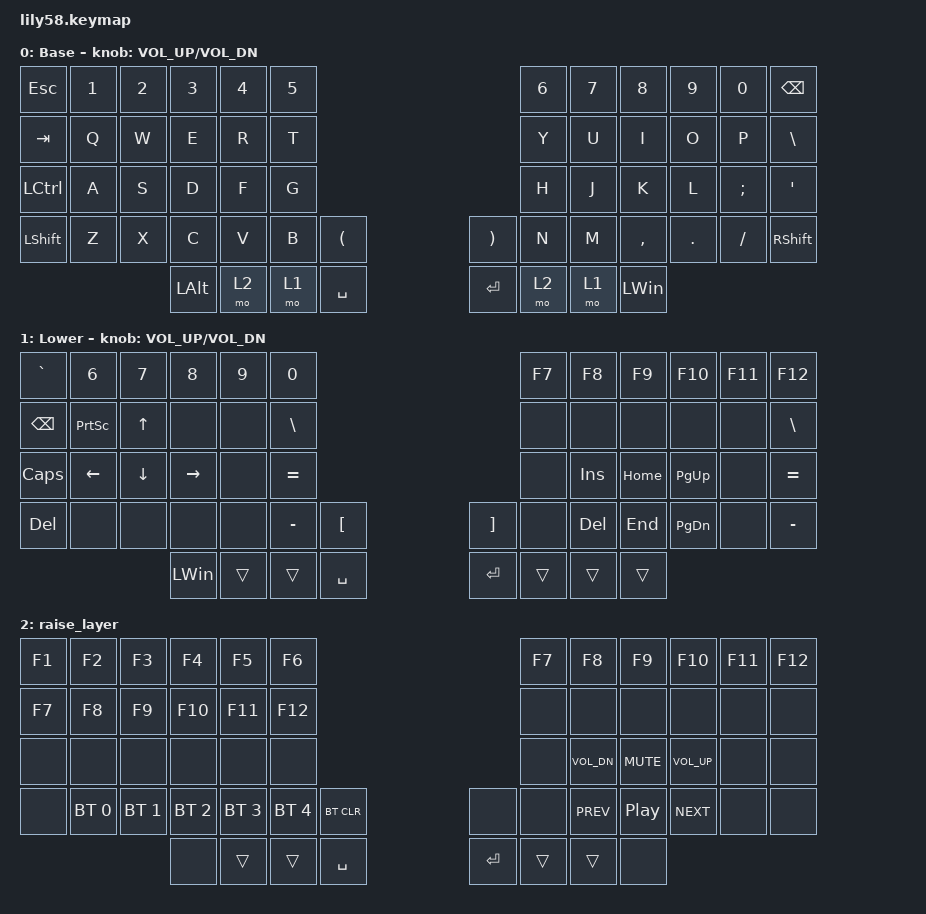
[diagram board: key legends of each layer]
/*
 * Copyright (c) 2020 The ZMK Contributors
 *
 * SPDX-License-Identifier: MIT
 */

#include <behaviors.dtsi>
#include <dt-bindings/zmk/bt.h>
#include <dt-bindings/zmk/keys.h>

/ {
    keymap {
        compatible = "zmk,keymap";

        default_layer {
            // ------------------------------------------------------------------------------------------------------------
            // |  ESC  |  1  |  2  |  3   |  4   |  5   |                   |  6   |  7    |  8    |  9   |   0   |   `   |
            // |  TAB  |  Q  |  W  |  E   |  R   |  T   |                   |  Y   |  U    |  I    |  O   |   P   |   -   |
            // |  CTRL |  A  |  S  |  D   |  F   |  G   |                   |  H   |  J    |  K    |  L   |   ;   |   '   |
            // | SHIFT |  Z  |  X  |  C   |  V   |  B   |   "["  |  |  "]"  |  N   |  M    |  ,    |  .   |   /   | SHIFT |
            //                     | ALT  | GUI  | LOWER|  SPACE |  | ENTER | RAISE| BSPC  | GUI   |

            display-name = "Base";
            bindings = <
&kp ESC    &kp N1  &kp N2  &kp N3    &kp N4  &kp N5                                                 &kp N6  &kp N7  &kp N8        &kp N9   &kp N0    &kp BSPC
&kp TAB    &kp Q   &kp W   &kp E     &kp R   &kp T                                                  &kp Y   &kp U   &kp I         &kp O    &kp P     &kp BACKSLASH
&kp LCTRL  &kp A   &kp S   &kp D     &kp F   &kp G                                                  &kp H   &kp J   &kp K         &kp L    &kp SEMI  &kp SQT
&kp LSHFT  &kp Z   &kp X   &kp C     &kp V   &kp B   &kp LEFT_PARENTHESIS    &kp RIGHT_PARENTHESIS  &kp N   &kp M   &kp COMMA     &kp DOT  &kp FSLH  &kp RSHFT
                           &kp LALT  &mo 2   &mo 1   &kp SPACE               &kp RET                &mo 2   &mo 1   &kp LEFT_WIN
            >;

            sensor-bindings = <&inc_dec_kp C_VOL_UP C_VOL_DN>;
        };

        lower_layer {
            // ------------------------------------------------------------------------------------------------------------
            // | BTCLR | BT1 | BT2 |  BT3 |  BT4 |  BT5 |                   |      |       |       |      |       |       |
            // |  F1   |  F2 |  F3 |  F4  |  F5  |  F6  |                   |  F7  |  F8   |  F9   |  F10 |  F11  |  F12  |
            // |   `   |  !  |  @  |  #   |  $   |  %   |                   |  ^   |  &    |  *    |  (   |   )   |   ~   |
            // |       |     |     |      |      |      |        |  |       |      |  _    |  +    |  {   |   }   |  "|"  |
            //                     |      |      |      |        |  |       |      |       |       |

            display-name = "Lower";
            bindings = <
&kp GRAVE   &kp N6           &kp N7    &kp N8        &kp N9  &kp N0                                            &kp F7  &kp F8   &kp F9    &kp F10      &kp F11  &kp F12
&kp BSPC    &kp PRINTSCREEN  &kp UP    &none         &none   &kp BSLH                                          &none   &none    &none     &none        &none    &kp BACKSLASH
&kp CAPS    &kp LEFT         &kp DOWN  &kp RIGHT     &none   &kp EQUAL                                         &none   &kp INS  &kp HOME  &kp PAGE_UP  &none    &kp EQUAL
&kp DELETE  &none            &none     &none         &none   &kp MINUS  &kp LEFT_BRACKET    &kp RIGHT_BRACKET  &none   &kp DEL  &kp END   &kp PG_DN    &none    &kp MINUS
                                       &kp LEFT_WIN  &trans  &trans     &kp SPACE           &kp ENTER          &trans  &trans   &trans
            >;

            sensor-bindings = <&inc_dec_kp C_VOL_UP C_VOL_DN>;
        };

        raise_layer {
            bindings = <
&kp F1  &kp F2        &kp F3        &kp F4        &kp F5        &kp F6                               &kp F7  &kp F8        &kp F9            &kp F10       &kp F11  &kp F12
&kp F7  &kp F8        &kp F9        &kp F10       &kp F11       &kp F12                              &none   &none         &none             &none         &none    &none
&none   &none         &none         &none         &none         &none                                &none   &kp C_VOL_DN  &kp C_MUTE        &kp C_VOL_UP  &none    &none
&none   &bt BT_SEL 0  &bt BT_SEL 1  &bt BT_SEL 2  &bt BT_SEL 3  &bt BT_SEL 4  &bt BT_CLR    &none    &none   &kp C_PREV    &kp C_PLAY_PAUSE  &kp C_NEXT    &none    &none
                                    &none         &trans        &trans        &kp SPACE     &kp RET  &trans  &trans        &none
            >;
        };
    };
};
